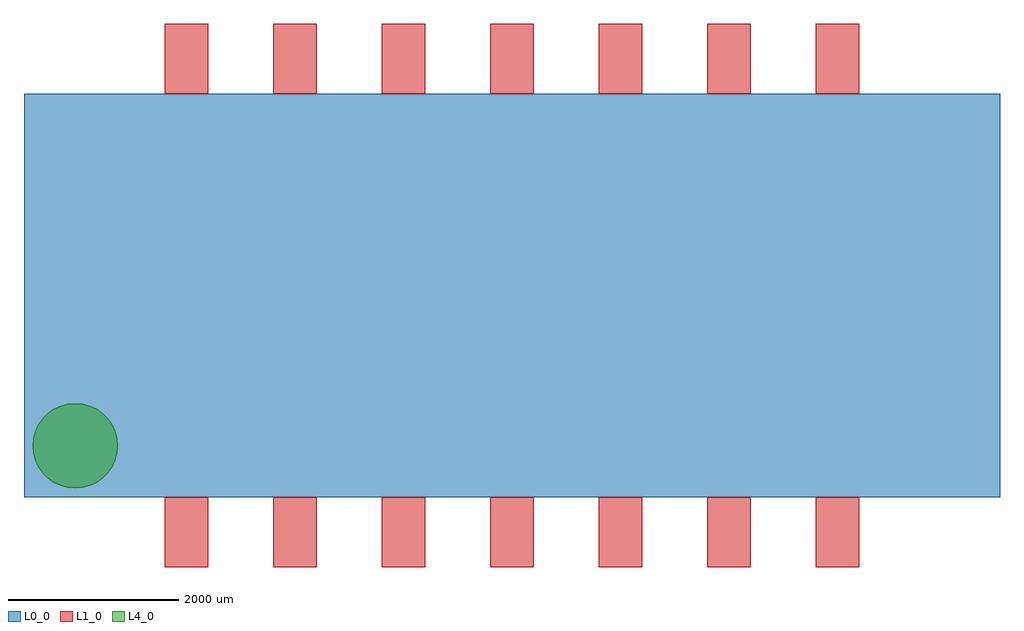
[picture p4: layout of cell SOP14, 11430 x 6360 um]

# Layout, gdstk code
import gdstk
lib = gdstk.Library(unit=1e-6, precision=1e-09)
def R(c, l, rs):  # rectangles x0, y0, x1, y1
    for r in rs: c.add(gdstk.rectangle(r[:2], r[2:], *l))
def A(c, l, x, y, w, h, nx, ny, dx, dy):  # array of equal rectangles
    R(c, l, [(x+i*dx, y+j*dy, x+i*dx+w, y+j*dy+h) for i in range(nx) for j in range(ny)])
def P(c, l, *ps):  # polygons
    for p in ps: c.add(gdstk.Polygon(p, *l))
L0_0 = (0, 0)
L1_0 = (1, 0)
L4_0 = (4, 0)
L99_1 = (99, 1)
L99_2 = (99, 2)
L99_3 = (99, 3)
L99_4 = (99, 4)
L99_5 = (99, 5)
L99_6 = (99, 6)
L99_7 = (99, 7)
L99_8 = (99, 8)
L99_9 = (99, 9)
L99_10 = (99, 10)
L99_11 = (99, 11)
L99_12 = (99, 12)
L99_13 = (99, 13)
L99_14 = (99, 14)

sop14 = lib.new_cell('SOP14')
R(sop14, L0_0, [(0,0,11430,4720)])
A(sop14, L1_0, 1650, -820, 510, 820, 7, 2, 1270, 5540)
P(sop14, L4_0, [(1100,600),(1092.404,513.176),(1069.846,428.99),(1033.013,350),(983.022,278.606),(921.394,216.978),(850,166.987),(771.01,130.154),(686.824,107.596),(600,100),(513.176,107.596),(428.99,130.154),(350,166.987),(278.606,216.978),(216.978,278.606),(166.987,350),(130.154,428.99),(107.596,513.176),(100,600),(107.596,686.824),(130.154,771.01),(166.987,850),(216.978,921.394),(278.606,983.022),(350,1033.013),(428.99,1069.846),(513.176,1092.404),(600,1100),(686.824,1092.404),(771.01,1069.846),(850,1033.013),(921.394,983.022),(983.022,921.394),(1033.013,850),(1069.846,771.01),(1092.404,686.824)])
sop14.add(gdstk.FlexPath([(2160,0),(1650,0)], 0, ends="round", simple_path=True, layer=99, datatype=1))  # L99_1
sop14.add(gdstk.FlexPath([(3430,0),(2920,0)], 0, ends="round", simple_path=True, layer=99, datatype=2))  # L99_2
sop14.add(gdstk.FlexPath([(4700,0),(4190,0)], 0, ends="round", simple_path=True, layer=99, datatype=3))  # L99_3
sop14.add(gdstk.FlexPath([(5970,0),(5460,0)], 0, ends="round", simple_path=True, layer=99, datatype=4))  # L99_4
sop14.add(gdstk.FlexPath([(7240,0),(6730,0)], 0, ends="round", simple_path=True, layer=99, datatype=5))  # L99_5
sop14.add(gdstk.FlexPath([(8510,0),(8000,0)], 0, ends="round", simple_path=True, layer=99, datatype=6))  # L99_6
sop14.add(gdstk.FlexPath([(9780,0),(9270,0)], 0, ends="round", simple_path=True, layer=99, datatype=7))  # L99_7
sop14.add(gdstk.FlexPath([(1650,4720),(2160,4720)], 0, ends="round", simple_path=True, layer=99, datatype=14))  # L99_14
sop14.add(gdstk.FlexPath([(2920,4720),(3430,4720)], 0, ends="round", simple_path=True, layer=99, datatype=13))  # L99_13
sop14.add(gdstk.FlexPath([(4190,4720),(4700,4720)], 0, ends="round", simple_path=True, layer=99, datatype=12))  # L99_12
sop14.add(gdstk.FlexPath([(5460,4720),(5970,4720)], 0, ends="round", simple_path=True, layer=99, datatype=11))  # L99_11
sop14.add(gdstk.FlexPath([(6730,4720),(7240,4720)], 0, ends="round", simple_path=True, layer=99, datatype=10))  # L99_10
sop14.add(gdstk.FlexPath([(8000,4720),(8510,4720)], 0, ends="round", simple_path=True, layer=99, datatype=9))  # L99_9
sop14.add(gdstk.FlexPath([(9270,4720),(9780,4720)], 0, ends="round", simple_path=True, layer=99, datatype=8))  # L99_8

lib.write_gds('SOP14.gds')
